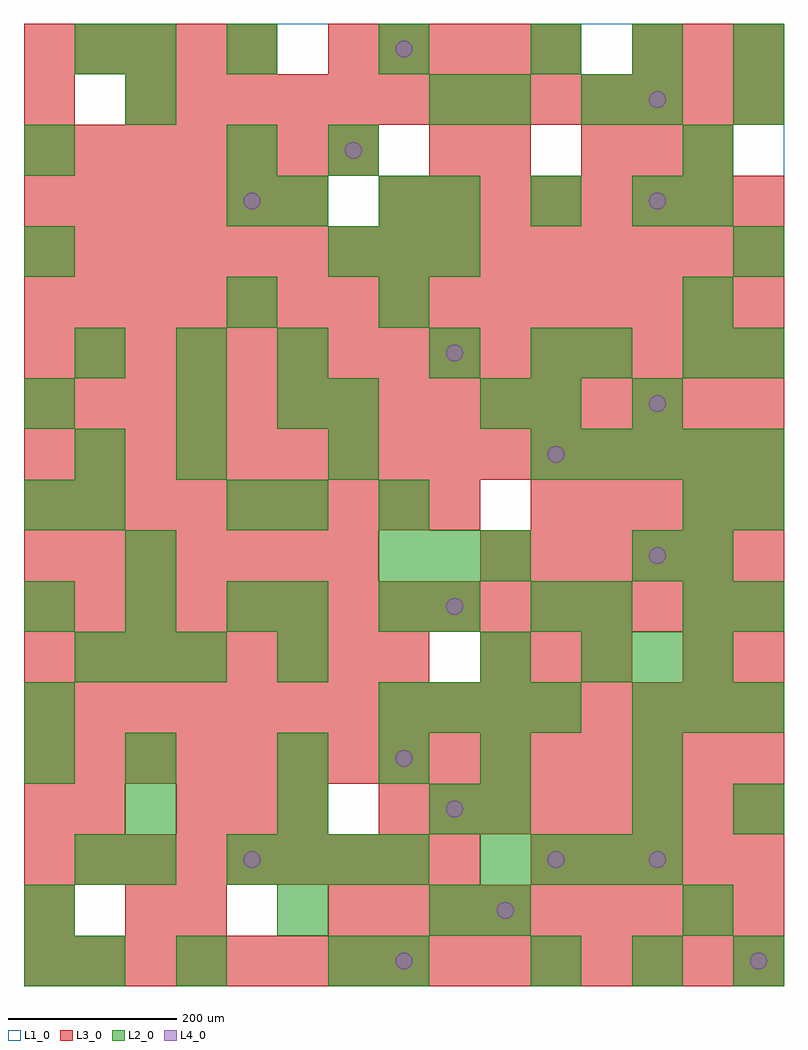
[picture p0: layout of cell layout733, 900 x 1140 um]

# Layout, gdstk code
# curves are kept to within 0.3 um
import gdstk
lib = gdstk.Library(unit=1e-6, precision=1e-09)
def R(c, l, rs):  # rectangles x0, y0, x1, y1
    for r in rs: c.add(gdstk.rectangle(r[:2], r[2:], *l))
def A(c, l, x, y, w, h, nx, ny, dx, dy):  # array of equal rectangles
    R(c, l, [(x+i*dx, y+j*dy, x+i*dx+w, y+j*dy+h) for i in range(nx) for j in range(ny)])
def P(c, l, *ps):  # polygons
    for p in ps: c.add(gdstk.Polygon(p, *l))
L1_0 = (1, 0)
L2_0 = (2, 0)
L3_0 = (3, 0)
L4_0 = (4, 0)

layout733 = lib.new_cell('layout733')
R(layout733, L1_0, [(0,0,900,1140)])
A(layout733, L2_0, 600, 0, 60, 60, 3, 1, 120, 0)
A(layout733, L2_0, 240, 120, 60, 60, 4, 1, 60, 0)
A(layout733, L2_0, 540, 120, 60, 60, 4, 1, 60, 0)
A(layout733, L2_0, 120, 180, 60, 60, 3, 1, 180, 0)
A(layout733, L2_0, 300, 240, 60, 60, 3, 1, 120, 0)
A(layout733, L2_0, 420, 300, 60, 60, 4, 1, 60, 0)
A(layout733, L2_0, 720, 300, 60, 60, 3, 1, 60, 0)
A(layout733, L2_0, 60, 360, 60, 60, 3, 1, 60, 0)
A(layout733, L2_0, 660, 360, 60, 60, 3, 1, 60, 0)
A(layout733, L2_0, 0, 420, 60, 60, 3, 1, 120, 0)
A(layout733, L2_0, 300, 420, 60, 60, 1, 3, 0, 120)
A(layout733, L2_0, 480, 420, 60, 60, 1, 3, 0, 300)
A(layout733, L2_0, 660, 420, 60, 60, 1, 3, 0, 300)
A(layout733, L2_0, 780, 420, 60, 60, 1, 3, 0, 60)
A(layout733, L2_0, 420, 480, 60, 60, 3, 1, 60, 0)
A(layout733, L2_0, 600, 600, 60, 60, 5, 1, 60, 0)
A(layout733, L2_0, 60, 720, 60, 60, 3, 1, 120, 0)
A(layout733, L2_0, 360, 840, 60, 60, 3, 1, 60, 0)
A(layout733, L2_0, 480, 900, 60, 60, 3, 1, 120, 0)
A(layout733, L2_0, 240, 1080, 60, 60, 3, 1, 180, 0)
R(layout733, L2_0, [(0,0,60,60), (60,0,120,60), (180,0,240,60), (360,0,420,60), (420,0,480,60), (0,60,60,120), (300,60,360,120), (480,60,540,120), (540,60,600,120), (780,60,840,120), (60,120,120,180), (120,120,180,180), (540,180,600,240), (720,180,780,240), (840,180,900,240), (0,240,60,300), (120,240,180,300), (720,240,780,300), (0,300,60,360), (300,360,360,420), (540,360,600,420), (420,420,480,480), (600,420,660,480), (840,420,900,480), (120,480,180,540), (720,480,780,540), (0,540,60,600), (60,540,120,600), (240,540,300,600), (420,540,480,600), (840,540,900,600), (60,600,120,660), (180,600,240,660), (360,600,420,660), (0,660,60,720), (180,660,240,720), (360,660,420,720), (540,660,600,720), (600,660,660,720), (720,660,780,720), (600,720,660,780), (780,720,840,780), (840,720,900,780), (240,780,300,840), (420,780,480,840), (780,780,840,840), (0,840,60,900), (840,840,900,900), (240,900,300,960), (300,900,360,960), (420,900,480,960), (780,900,840,960), (0,960,60,1020), (240,960,300,1020), (360,960,420,1020), (780,960,840,1020), (120,1020,180,1080), (540,1020,600,1080), (720,1020,780,1080), (840,1020,900,1080), (60,1080,120,1140), (120,1080,180,1140), (720,1080,780,1140), (840,1080,900,1140)])
A(layout733, L3_0, 0, 0, 60, 60, 15, 2, 60, 240)
A(layout733, L3_0, 360, 60, 60, 60, 9, 1, 60, 0)
A(layout733, L3_0, 0, 120, 60, 60, 9, 2, 60, 420)
A(layout733, L3_0, 600, 120, 60, 60, 5, 2, 60, 420)
A(layout733, L3_0, 180, 180, 60, 60, 3, 1, 60, 0)
A(layout733, L3_0, 420, 180, 60, 60, 8, 2, 60, 720)
A(layout733, L3_0, 0, 300, 60, 60, 15, 2, 60, 120)
A(layout733, L3_0, 0, 360, 60, 60, 8, 1, 60, 0)
A(layout733, L3_0, 540, 360, 60, 60, 3, 1, 60, 0)
A(layout733, L3_0, 0, 480, 60, 60, 7, 2, 60, 480)
A(layout733, L3_0, 540, 480, 60, 60, 6, 1, 60, 0)
A(layout733, L3_0, 0, 600, 60, 60, 15, 5, 60, 60)
A(layout733, L3_0, 0, 900, 60, 60, 6, 1, 60, 0)
A(layout733, L3_0, 660, 960, 60, 60, 3, 1, 60, 0)
A(layout733, L3_0, 120, 1020, 60, 60, 13, 1, 60, 0)
A(layout733, L3_0, 0, 1080, 60, 60, 5, 1, 60, 0)
A(layout733, L3_0, 360, 1080, 60, 60, 5, 1, 60, 0)
A(layout733, L3_0, 720, 1080, 60, 60, 3, 1, 60, 0)
R(layout733, L3_0, [(0,60,60,120), (120,60,180,120), (180,60,240,120), (0,180,60,240), (60,180,120,240), (780,360,840,420), (840,360,900,420), (480,960,540,1020), (540,960,600,1020), (0,1020,60,1080)])
P(layout733, L4_0, [(280,150),(279.239,153.827),(277.071,157.071),(273.827,159.239),(270,160),(266.173,159.239),(262.929,157.071),(260.761,153.827),(260,150),(260.761,146.173),(262.929,142.929),(266.173,140.761),(270,140),(273.827,140.761),(277.071,142.929),(279.239,146.173)],
  [(280,930),(279.239,933.827),(277.071,937.071),(273.827,939.239),(270,940),(266.173,939.239),(262.929,937.071),(260.761,933.827),(260,930),(260.761,926.173),(262.929,922.929),(266.173,920.761),(270,920),(273.827,920.761),(277.071,922.929),(279.239,926.173)],
  [(400,990),(399.239,993.827),(397.071,997.071),(393.827,999.239),(390,1000),(386.173,999.239),(382.929,997.071),(380.761,993.827),(380,990),(380.761,986.173),(382.929,982.929),(386.173,980.761),(390,980),(393.827,980.761),(397.071,982.929),(399.239,986.173)],
  [(460,30),(459.239,33.827),(457.071,37.071),(453.827,39.239),(450,40),(446.173,39.239),(442.929,37.071),(440.761,33.827),(440,30),(440.761,26.173),(442.929,22.929),(446.173,20.761),(450,20),(453.827,20.761),(457.071,22.929),(459.239,26.173)],
  [(460,270),(459.239,273.827),(457.071,277.071),(453.827,279.239),(450,280),(446.173,279.239),(442.929,277.071),(440.761,273.827),(440,270),(440.761,266.173),(442.929,262.929),(446.173,260.761),(450,260),(453.827,260.761),(457.071,262.929),(459.239,266.173)],
  [(460,1110),(459.239,1113.827),(457.071,1117.071),(453.827,1119.239),(450,1120),(446.173,1119.239),(442.929,1117.071),(440.761,1113.827),(440,1110),(440.761,1106.173),(442.929,1102.929),(446.173,1100.761),(450,1100),(453.827,1100.761),(457.071,1102.929),(459.239,1106.173)],
  [(520,210),(519.239,213.827),(517.071,217.071),(513.827,219.239),(510,220),(506.173,219.239),(502.929,217.071),(500.761,213.827),(500,210),(500.761,206.173),(502.929,202.929),(506.173,200.761),(510,200),(513.827,200.761),(517.071,202.929),(519.239,206.173)],
  [(520,450),(519.239,453.827),(517.071,457.071),(513.827,459.239),(510,460),(506.173,459.239),(502.929,457.071),(500.761,453.827),(500,450),(500.761,446.173),(502.929,442.929),(506.173,440.761),(510,440),(513.827,440.761),(517.071,442.929),(519.239,446.173)],
  [(520,750),(519.239,753.827),(517.071,757.071),(513.827,759.239),(510,760),(506.173,759.239),(502.929,757.071),(500.761,753.827),(500,750),(500.761,746.173),(502.929,742.929),(506.173,740.761),(510,740),(513.827,740.761),(517.071,742.929),(519.239,746.173)],
  [(580,90),(579.239,93.827),(577.071,97.071),(573.827,99.239),(570,100),(566.173,99.239),(562.929,97.071),(560.761,93.827),(560,90),(560.761,86.173),(562.929,82.929),(566.173,80.761),(570,80),(573.827,80.761),(577.071,82.929),(579.239,86.173)],
  [(640,150),(639.239,153.827),(637.071,157.071),(633.827,159.239),(630,160),(626.173,159.239),(622.929,157.071),(620.761,153.827),(620,150),(620.761,146.173),(622.929,142.929),(626.173,140.761),(630,140),(633.827,140.761),(637.071,142.929),(639.239,146.173)],
  [(640,630),(639.239,633.827),(637.071,637.071),(633.827,639.239),(630,640),(626.173,639.239),(622.929,637.071),(620.761,633.827),(620,630),(620.761,626.173),(622.929,622.929),(626.173,620.761),(630,620),(633.827,620.761),(637.071,622.929),(639.239,626.173)],
  [(760,150),(759.239,153.827),(757.071,157.071),(753.827,159.239),(750,160),(746.173,159.239),(742.929,157.071),(740.761,153.827),(740,150),(740.761,146.173),(742.929,142.929),(746.173,140.761),(750,140),(753.827,140.761),(757.071,142.929),(759.239,146.173)],
  [(760,510),(759.239,513.827),(757.071,517.071),(753.827,519.239),(750,520),(746.173,519.239),(742.929,517.071),(740.761,513.827),(740,510),(740.761,506.173),(742.929,502.929),(746.173,500.761),(750,500),(753.827,500.761),(757.071,502.929),(759.239,506.173)],
  [(760,690),(759.239,693.827),(757.071,697.071),(753.827,699.239),(750,700),(746.173,699.239),(742.929,697.071),(740.761,693.827),(740,690),(740.761,686.173),(742.929,682.929),(746.173,680.761),(750,680),(753.827,680.761),(757.071,682.929),(759.239,686.173)],
  [(760,930),(759.239,933.827),(757.071,937.071),(753.827,939.239),(750,940),(746.173,939.239),(742.929,937.071),(740.761,933.827),(740,930),(740.761,926.173),(742.929,922.929),(746.173,920.761),(750,920),(753.827,920.761),(757.071,922.929),(759.239,926.173)],
  [(760,1050),(759.239,1053.827),(757.071,1057.071),(753.827,1059.239),(750,1060),(746.173,1059.239),(742.929,1057.071),(740.761,1053.827),(740,1050),(740.761,1046.173),(742.929,1042.929),(746.173,1040.761),(750,1040),(753.827,1040.761),(757.071,1042.929),(759.239,1046.173)],
  [(880,30),(879.239,33.827),(877.071,37.071),(873.827,39.239),(870,40),(866.173,39.239),(862.929,37.071),(860.761,33.827),(860,30),(860.761,26.173),(862.929,22.929),(866.173,20.761),(870,20),(873.827,20.761),(877.071,22.929),(879.239,26.173)])

lib.write_gds('layout733.gds')
